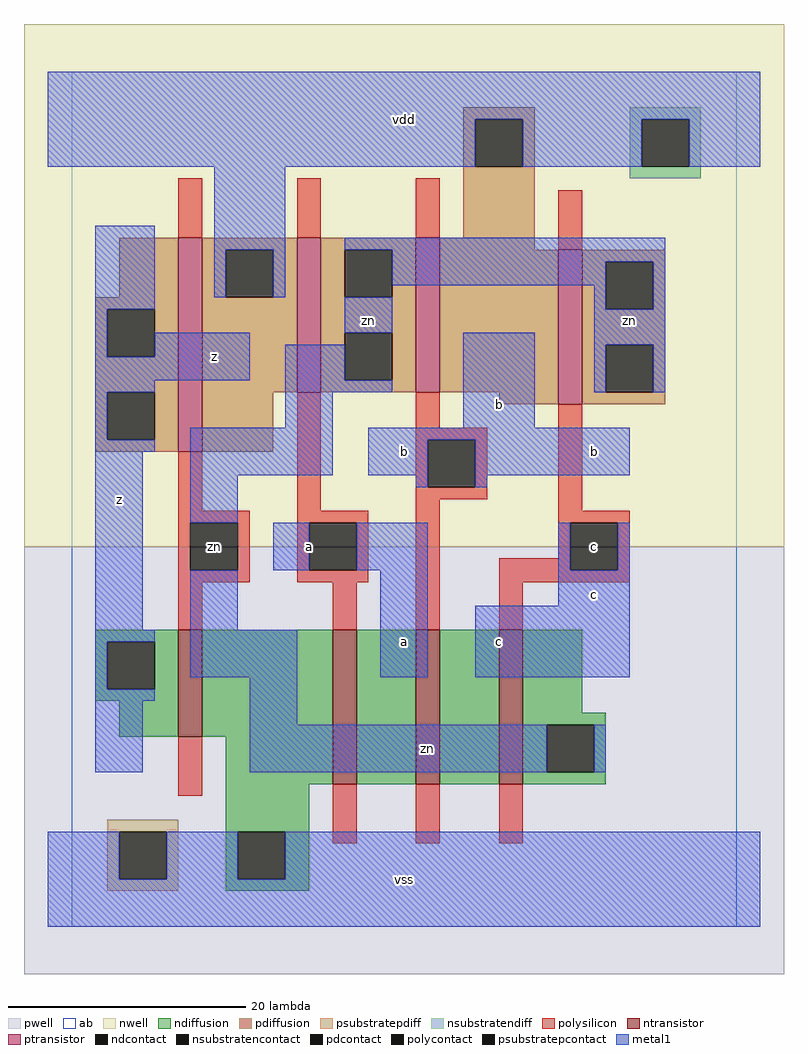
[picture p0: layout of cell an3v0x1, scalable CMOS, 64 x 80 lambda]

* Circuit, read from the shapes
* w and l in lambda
.subckt an3v0x1 a b c vdd vss z zn
M1 vss zn z vss nfet w=9 l=2
M2 n1 a vss vss nfet w=13 l=2
M3 n2 b n1 vss nfet w=13 l=2
M4 zn c n2 vss nfet w=13 l=2
M5 vdd zn z vdd pfet w=18 l=2
M6 zn a vdd vdd pfet w=13 l=2
M7 vdd b zn vdd pfet w=13 l=2
M8 zn c vdd vdd pfet w=13 l=2
.ends

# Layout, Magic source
magic
tech scmos
<< ab >>
rect 0 0 56 72
<< pwell >>
rect -4 -4 60 32
<< nwell >>
rect -4 32 60 76
<< polysilicon >>
rect 9 58 11 63
rect 19 58 21 63
rect 29 58 31 63
rect 41 57 43 62
rect 9 35 11 40
rect 19 35 21 45
rect 29 42 31 45
rect 29 41 35 42
rect 29 37 30 41
rect 34 37 35 41
rect 29 36 35 37
rect 9 34 15 35
rect 9 30 10 34
rect 14 30 15 34
rect 9 29 15 30
rect 19 34 25 35
rect 19 30 20 34
rect 24 30 25 34
rect 19 29 25 30
rect 9 25 11 29
rect 22 25 24 29
rect 29 25 31 36
rect 41 35 43 44
rect 41 34 47 35
rect 41 31 42 34
rect 36 30 42 31
rect 46 30 47 34
rect 36 29 47 30
rect 36 25 38 29
rect 9 11 11 16
rect 22 7 24 12
rect 29 7 31 12
rect 36 7 38 12
<< ndiffusion >>
rect 2 24 9 25
rect 2 20 3 24
rect 7 20 9 24
rect 2 19 9 20
rect 4 16 9 19
rect 11 16 22 25
rect 13 12 22 16
rect 24 12 29 25
rect 31 12 36 25
rect 38 18 43 25
rect 38 17 45 18
rect 38 13 40 17
rect 44 13 45 17
rect 38 12 45 13
rect 13 8 20 12
rect 13 4 14 8
rect 18 4 20 8
rect 13 3 20 4
<< pdiffusion >>
rect 33 68 39 69
rect 33 64 34 68
rect 38 64 39 68
rect 33 58 39 64
rect 4 53 9 58
rect 2 52 9 53
rect 2 48 3 52
rect 7 48 9 52
rect 2 45 9 48
rect 2 41 3 45
rect 7 41 9 45
rect 2 40 9 41
rect 11 57 19 58
rect 11 53 13 57
rect 17 53 19 57
rect 11 45 19 53
rect 21 57 29 58
rect 21 53 23 57
rect 27 53 29 57
rect 21 50 29 53
rect 21 46 23 50
rect 27 46 29 50
rect 21 45 29 46
rect 31 57 39 58
rect 31 45 41 57
rect 11 40 17 45
rect 36 44 41 45
rect 43 56 50 57
rect 43 52 45 56
rect 49 52 50 56
rect 43 49 50 52
rect 43 45 45 49
rect 49 45 50 49
rect 43 44 50 45
<< metal1 >>
rect -2 68 58 72
rect -2 64 34 68
rect 38 64 48 68
rect 52 64 58 68
rect 2 52 7 59
rect 12 57 18 64
rect 12 53 13 57
rect 17 53 18 57
rect 23 57 50 58
rect 27 56 50 57
rect 27 54 45 56
rect 2 48 3 52
rect 23 50 27 53
rect 44 52 45 54
rect 49 52 50 56
rect 7 48 15 50
rect 2 46 15 48
rect 18 46 23 49
rect 2 45 7 46
rect 2 41 3 45
rect 18 45 27 46
rect 18 42 22 45
rect 33 42 39 50
rect 44 49 50 52
rect 44 45 45 49
rect 49 45 50 49
rect 2 40 7 41
rect 2 25 6 40
rect 10 38 22 42
rect 25 41 47 42
rect 25 38 30 41
rect 10 34 14 38
rect 29 37 30 38
rect 34 38 47 41
rect 34 37 35 38
rect 17 30 20 34
rect 24 30 30 34
rect 10 25 14 30
rect 2 24 7 25
rect 2 20 3 24
rect 10 21 19 25
rect 26 21 30 30
rect 41 30 42 34
rect 46 30 47 34
rect 41 27 47 30
rect 34 21 47 27
rect 2 19 7 20
rect 2 13 6 19
rect 15 17 19 21
rect 15 13 40 17
rect 44 13 45 17
rect -2 4 4 8
rect 8 4 14 8
rect 18 4 58 8
rect -2 0 58 4
<< ntransistor >>
rect 9 16 11 25
rect 22 12 24 25
rect 29 12 31 25
rect 36 12 38 25
<< ptransistor >>
rect 9 40 11 58
rect 19 45 21 58
rect 29 45 31 58
rect 41 44 43 57
<< polycontact >>
rect 30 37 34 41
rect 10 30 14 34
rect 20 30 24 34
rect 42 30 46 34
<< ndcontact >>
rect 3 20 7 24
rect 40 13 44 17
rect 14 4 18 8
<< pdcontact >>
rect 34 64 38 68
rect 3 48 7 52
rect 3 41 7 45
rect 13 53 17 57
rect 23 53 27 57
rect 23 46 27 50
rect 45 52 49 56
rect 45 45 49 49
<< psubstratepcontact >>
rect 4 4 8 8
<< nsubstratencontact >>
rect 48 64 52 68
<< psubstratepdiff >>
rect 3 8 9 9
rect 3 4 4 8
rect 8 4 9 8
rect 3 3 9 4
<< nsubstratendiff >>
rect 47 68 53 69
rect 47 64 48 68
rect 52 64 53 68
rect 47 63 53 64
<< labels >>
rlabel polycontact 12 32 12 32 6 zn
rlabel metal1 4 36 4 36 6 z
rlabel metal1 20 32 20 32 6 a
rlabel polycontact 12 31 12 31 6 zn
rlabel metal1 12 48 12 48 6 z
rlabel metal1 25 51 25 51 6 zn
rlabel metal1 28 4 28 4 6 vss
rlabel metal1 28 24 28 24 6 a
rlabel metal1 36 24 36 24 6 c
rlabel metal1 28 40 28 40 6 b
rlabel metal1 36 44 36 44 6 b
rlabel metal1 28 68 28 68 6 vdd
rlabel metal1 30 15 30 15 6 zn
rlabel metal1 44 28 44 28 6 c
rlabel polycontact 44 32 44 32 6 c
rlabel metal1 44 40 44 40 6 b
rlabel metal1 47 51 47 51 6 zn
<< end >>
